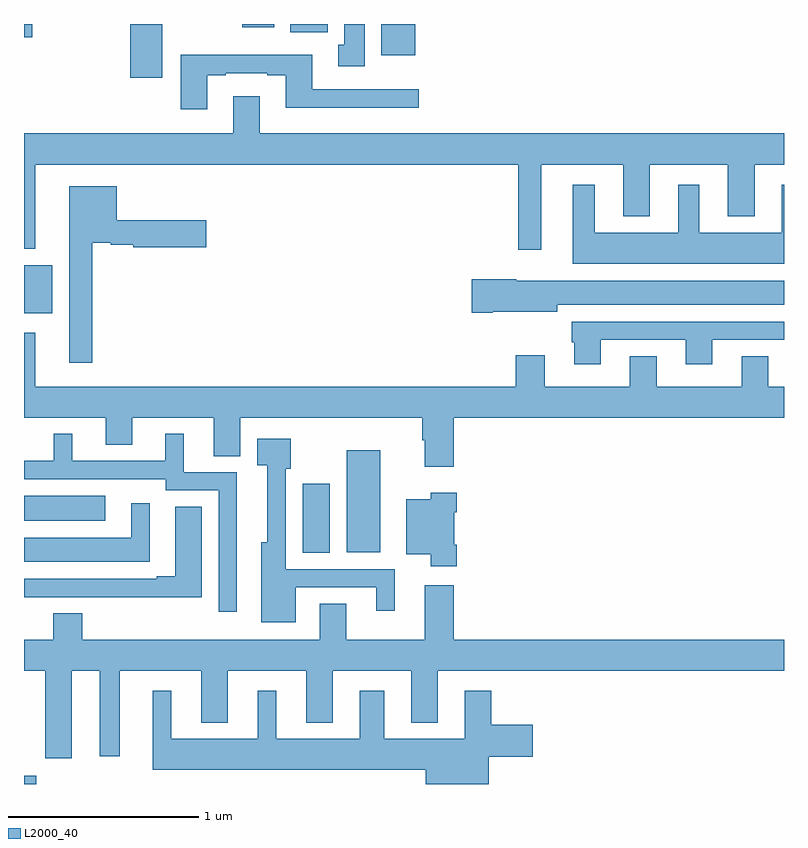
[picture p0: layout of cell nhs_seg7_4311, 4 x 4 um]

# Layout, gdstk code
import gdstk
lib = gdstk.Library(unit=1e-6, precision=1e-09)
def R(c, l, rs):  # rectangles x0, y0, x1, y1
    for r in rs: c.add(gdstk.rectangle(r[:2], r[2:], *l))
def P(c, l, *ps):  # polygons
    for p in ps: c.add(gdstk.Polygon(p, *l))
L2000_40 = (2000, 40)

nhs_seg7_4311 = lib.new_cell('nhs_seg7_4311')
R(nhs_seg7_4311, L2000_40, [(383,1020,383.065,1020.043), (384.467,1021.216,384.61,1021.579), (384.698,1021.22,384.874,1021.756), (383,1021.385,383.428,1021.516), (383,1022.477,383.149,1022.731), (383.558,1023.717,383.728,1024), (384.881,1023.836,385.06,1024), (383,1023.929,383.044,1024), (384.401,1023.956,384.598,1024), (384.149,1023.984,384.316,1024)])
P(nhs_seg7_4311, L2000_40, [(384.793,1024),(384.686,1024),(384.686,1023.89),(384.653,1023.89),(384.653,1023.777),(384.793,1023.777)],
  [(383.965,1023.729),(384.061,1023.729),(384.061,1023.741),(384.281,1023.741),(384.281,1023.729),(384.377,1023.729),(384.377,1023.56),(385.078,1023.56),(385.078,1023.657),(384.517,1023.657),(384.517,1023.838),(383.825,1023.838),(383.825,1023.552),(383.965,1023.552)],
  [(385.723,1023.26),(386.153,1023.26),(386.153,1022.987),(386.293,1022.987),(386.293,1023.26),(386.705,1023.26),(386.705,1022.987),(386.845,1022.987),(386.845,1023.26),(387,1023.26),(387,1023.424),(384.241,1023.424),(384.241,1023.619),(384.101,1023.619),(384.101,1023.424),(383,1023.424),(383,1022.816),(383.059,1022.816),(383.059,1023.26),(385.602,1023.26),(385.602,1022.811),(385.723,1022.811)],
  [(387,1023.154),(386.987,1023.154),(386.987,1022.902),(386.554,1022.902),(386.554,1023.154),(386.444,1023.154),(386.444,1022.902),(386.005,1022.902),(386.005,1023.154),(385.889,1023.154),(385.889,1022.738),(387,1022.738)],
  [(383.359,1022.849),(383.456,1022.849),(383.456,1022.837),(383.574,1022.837),(383.574,1022.825),(383.959,1022.825),(383.959,1022.967),(383.488,1022.967),(383.488,1023.145),(383.237,1023.145),(383.237,1022.217),(383.359,1022.217)],
  [(385.468,1022.486),(385.807,1022.486),(385.807,1022.522),(387,1022.522),(387,1022.65),(385.59,1022.65),(385.59,1022.657),(385.356,1022.657),(385.356,1022.479),(385.468,1022.479)],
  [(386.035,1022.337),(386.483,1022.337),(386.483,1022.208),(386.623,1022.208),(386.623,1022.337),(387,1022.337),(387,1022.433),(385.883,1022.433),(385.883,1022.325),(385.895,1022.325),(385.895,1022.208),(386.035,1022.208)],
  [(385.262,1021.928),(387,1021.928),(387,1022.092),(386.917,1022.092),(386.917,1022.252),(386.777,1022.252),(386.777,1022.092),(386.329,1022.092),(386.329,1022.252),(386.189,1022.252),(386.189,1022.092),(385.741,1022.092),(385.741,1022.257),(385.589,1022.257),(385.589,1022.092),(383.059,1022.092),(383.059,1022.374),(383,1022.374),(383,1021.928),(383.429,1021.928),(383.429,1021.786),(383.569,1021.786),(383.569,1021.928),(383.999,1021.928),(383.999,1021.726),(384.139,1021.726),(384.139,1021.928),(385.097,1021.928),(385.097,1021.808),(385.109,1021.808),(385.109,1021.671),(385.262,1021.671)],
  [(384.12,1021.369),(384.121,1021.369),(384.121,1021.641),(383.842,1021.641),(383.842,1021.843),(383.744,1021.843),(383.744,1021.701),(383.254,1021.701),(383.254,1021.843),(383.156,1021.843),(383.156,1021.701),(383,1021.701),(383,1021.605),(383.745,1021.605),(383.745,1021.545),(384.024,1021.545),(384.024,1020.906),(384.12,1020.906)],
  [(384.43,1021.035),(384.854,1021.035),(384.854,1020.912),(384.952,1020.912),(384.952,1021.131),(384.378,1021.131),(384.378,1021.659),(384.405,1021.659),(384.405,1021.816),(384.228,1021.816),(384.228,1021.678),(384.281,1021.678),(384.281,1021.273),(384.248,1021.273),(384.248,1020.851),(384.43,1020.851)],
  [(385.277,1021.258),(385.264,1021.258),(385.264,1021.43),(385.277,1021.43),(385.277,1021.534),(385.142,1021.534),(385.142,1021.498),(385.013,1021.498),(385.013,1021.208),(385.142,1021.208),(385.142,1021.146),(385.277,1021.146)],
  [(383.662,1021.477),(383.564,1021.477),(383.564,1021.297),(383,1021.297),(383,1021.169),(383.662,1021.169)],
  [(383.935,1021.459),(383.795,1021.459),(383.795,1021.093),(383.699,1021.093),(383.699,1021.08),(383,1021.08),(383,1020.984),(383.389,1020.984),(383.389,1020.982),(383.935,1020.982)],
  [(385.109,1021.045),(385.109,1020.76),(384.697,1020.76),(384.697,1020.95),(384.557,1020.95),(384.557,1020.76),(383.306,1020.76),(383.306,1020.899),(383.153,1020.899),(383.153,1020.76),(383,1020.76),(383,1020.596),(383.111,1020.596),(383.111,1020.135),(383.251,1020.135),(383.251,1020.596),(383.399,1020.596),(383.399,1020.147),(383.503,1020.147),(383.503,1020.596),(383.933,1020.596),(383.933,1020.323),(384.073,1020.323),(384.073,1020.596),(384.485,1020.596),(384.485,1020.323),(384.625,1020.323),(384.625,1020.596),(385.037,1020.596),(385.037,1020.323),(385.177,1020.323),(385.177,1020.596),(387,1020.596),(387,1020.76),(385.262,1020.76),(385.262,1021.045)],
  [(385.447,1020.143),(385.678,1020.143),(385.678,1020.313),(385.46,1020.313),(385.46,1020.49),(385.319,1020.49),(385.319,1020.238),(384.895,1020.238),(384.895,1020.49),(384.767,1020.49),(384.767,1020.238),(384.328,1020.238),(384.328,1020.49),(384.23,1020.49),(384.23,1020.238),(383.776,1020.238),(383.776,1020.49),(383.678,1020.49),(383.678,1020.074),(385.115,1020.074),(385.115,1020),(385.447,1020)])

lib.write_gds('nhs_seg7_4311.gds')
